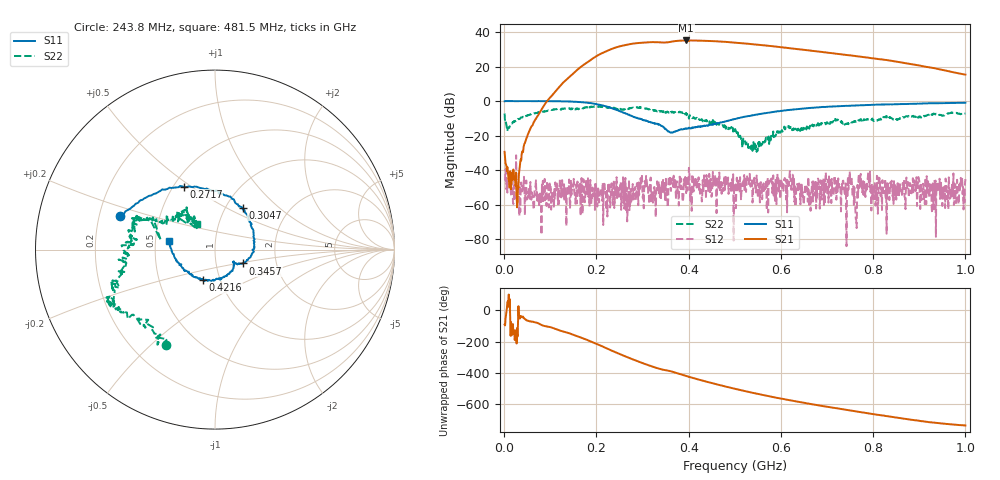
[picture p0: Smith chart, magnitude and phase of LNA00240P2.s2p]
! Created with skrf 1.9.0 (http://scikit-rf.org).
# Hz S RI R 50.0
!freq ReS11 ImS11 ReS21 ImS21 ReS12 ImS12 ReS22 ImS22
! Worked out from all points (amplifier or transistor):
!   1001 points, 1 MHz to 1 GHz, reference 50 ohm
!   highest |S21| = 35.1 dB at 394.6 MHz (marker M1)
!   |S21| within 3 dB of that: 256.8 MHz to 569 MHz (312.2 MHz wide, 75.6 % of centre)
!   unconditionally stable (mu >= 1): start of sweep to 81.81 MHz; 237.8 MHz to 298.6 MHz; 298.8 MHz to end of sweep (the widest 3 of 28)
!   at 166.8 MHz: K = 1.71, MAG = 30.2 dB, |S12| = -50.3 dB
!   at 500.5 MHz: K = 2.43, MAG = 34.4 dB, |S12| = -48.2 dB
!   at 1 GHz: K = 2.57, MAG = 23.3 dB, |S12| = -45.2 dB
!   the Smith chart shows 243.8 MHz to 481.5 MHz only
!   S11 on the Smith chart (normalised r, x): 243.8 MHz: 0.29, +0.16; 271.7 MHz: 0.56, +0.47; 304.7 MHz: 1.19, +0.61; 345.7 MHz: 1.34, -0.21; 421.6 MHz: 0.83, -0.29; 481.5 MHz: 0.59, +0.06
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1000000  0.9849 0.00279  -0.00115 -0.0337  -0.00242 -0.00432  0.3181 0.2961
1.08892e8  0.5098 -0.8517  -0.7965 -1.553  -0.000146 -0.00295  0.4401 -0.3564
1.67833e8  -0.2555 -0.8873  -10.11 -0.6671  -0.00241 -0.00537  0.0656 -0.6305
2.09791e8  -0.6778 -0.3509  -15.96 17.24  0.00191 -0.00227  -0.1479 -0.6592
2.43757e8  -0.5275 0.1848  0.9666 36.2  -0.00497 0.00373  -0.2756 -0.5313
2.71729e8  -0.1749 0.3498  25.78 36.05  0.000692 2.58e-05  -0.4908 -0.3502
3.04696e8  0.1532 0.2344  47.64 14.8  -0.00185 0.00443  -0.5725 -0.2081
3.34666e8  0.2165 -0.0113  49.38 -10.51  -0.00338 0.00346  -0.4942 -0.0689
3.45655e8  0.1541 -0.0771  46.58 -17.12  0.00432 0.00202  -0.5082 -0.0189
3.7063e8  0.1028 -0.0778  43.54 -33.08  0.00465 0.00319  -0.4594 0.1517
3.94606e8  0.0602 -0.1459  29.07 -49.01  -0.000907 0.00195  -0.4229 0.1623
4.21579e8  -0.068 -0.1708  7.684 -55.65  0.00299 0.00541  -0.2327 0.1505
4.49551e8  -0.1812 -0.1032  -13.58 -52.91  -0.000684 0.00153  -0.1306 0.1728
4.81519e8  -0.2573 0.0465  -31.74 -40.78  0.00211 0.00324  -0.1024 0.1429
5.005e8  -0.2598 0.1516  -38.62 -31.04  0.0018 -0.00344  -0.0961 0.1213
5.4046e8  -0.1774 0.3478  -43.06 -9.417  0.00511 0.000567  -0.0488 0.0427
5.88412e8  0.0274 0.4961  -36.26 11.06  0.00503 -0.00132  -0.0698 -0.0727
6.67333e8  0.4056 0.4919  -14.44 24.5  -0.00243 -0.00282  -0.1893 -0.0612
7.53247e8  0.6824 0.2781  3.905 20.43  -0.00546 -0.00315  -0.2394 -0.0287
8.34166e8  0.7988 0.0128  11.02 10.23  -0.00266 -0.00141  -0.3426 -0.0463
9.16084e8  0.8147 -0.2646  9.669 1.45  -0.00075 -0.00664  -0.3667 0.1053
1e9  0.73 -0.5173  5.648 -1.473  -0.00406 -0.00368  -0.3697 0.2319
